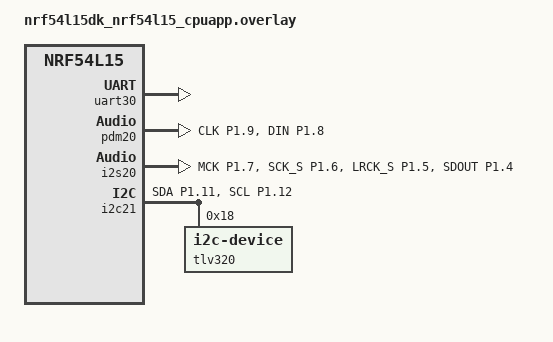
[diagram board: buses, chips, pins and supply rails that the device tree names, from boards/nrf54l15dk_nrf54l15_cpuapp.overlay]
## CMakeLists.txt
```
# SPDX-License-Identifier: Apache-2.0

cmake_minimum_required(VERSION 3.20.0)
find_package(Zephyr REQUIRED HINTS $ENV{ZEPHYR_BASE})
project(bap_unicast_server)

target_sources(app PRIVATE
  src/main.c
  src/ml_main.cc
  src/mfcc_data.c
  src/kws_model_data.cc
  src/cpu_based_blocks.cc
)

zephyr_library_include_directories(${ZEPHYR_BASE}/samples/bluetooth)
```

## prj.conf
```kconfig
CONFIG_BT=y
CONFIG_LOG=y
CONFIG_BT_SMP=y
CONFIG_BT_PERIPHERAL=y
CONFIG_BT_GAP_AUTO_UPDATE_CONN_PARAMS=n
# Set preferred values based on BT_BAP_CONN_PARAM_RELAXED
CONFIG_BT_PERIPHERAL_PREF_MIN_INT=50
CONFIG_BT_PERIPHERAL_PREF_MAX_INT=70
CONFIG_BT_PERIPHERAL_PREF_LATENCY=0
CONFIG_BT_PERIPHERAL_PREF_TIMEOUT=400
CONFIG_BT_ISO_PERIPHERAL=y
CONFIG_BT_AUDIO=y
CONFIG_BT_GATT_DYNAMIC_DB=y
CONFIG_BT_BAP_UNICAST_SERVER=y
CONFIG_BT_ASCS=y
CONFIG_BT_PAC_SNK=y
CONFIG_BT_ASCS_MAX_ASE_SNK_COUNT=1
CONFIG_BT_PAC_SRC=y
CONFIG_BT_ASCS_MAX_ASE_SRC_COUNT=1
CONFIG_BT_ISO_TX_BUF_COUNT=2
# Support an ISO channel per ASE
CONFIG_BT_ISO_MAX_CHAN=4

CONFIG_BT_AUDIO_CODEC_CFG_MAX_METADATA_SIZE=10

# Mandatory to support at least 1 for ASCS
CONFIG_BT_ATT_PREPARE_COUNT=2

CONFIG_BT_EXT_ADV=y
CONFIG_BT_DEVICE_NAME="Unicast Audio Server"

CONFIG_LOG=y

# I2S and DPPI support
CONFIG_NRFX_I2S20=y
CONFIG_CLOCK_CONTROL=y
CONFIG_I2C=y
CONFIG_RING_BUFFER=y
CONFIG_NRFX_DPPI20=y
CONFIG_NRFX_TIMER20=y
CONFIG_MAIN_STACK_SIZE=8192
CONFIG_SYSTEM_WORKQUEUE_STACK_SIZE=18240
CONFIG_THREAD_NAME=y
CONFIG_PCM_MIX=y
CONFIG_BT_RX_STACK_SIZE=10240
CONFIG_BT_LOG_SNIFFER_INFO=y
CONFIG_MPSL_WORK_STACK_SIZE=10240
CONFIG_BT_SETTINGS=y
CONFIG_FLASH=y
CONFIG_FLASH_MAP=y
CONFIG_NVS=y
CONFIG_SETTINGS=y


CONFIG_BT_GATT_AUTO_DISCOVER_CCC=y
CONFIG_BT_GATT_AUTO_RESUBSCRIBE=n
CONFIG_BT_GATT_AUTO_SEC_REQ=n
CONFIG_GPIO=y
CONFIG_BT_ATT_TX_COUNT=20
CONFIG_BT_L2CAP_TX_BUF_COUNT=12
CONFIG_BT_BUF_ACL_TX_COUNT=12
CONFIG_NRFX_UARTE30=y
CONFIG_DK_LIBRARY=y


# VCP support
CONFIG_BT_VCP_VOL_REND=y

# MCP support
CONFIG_BT_MCC=y
CONFIG_BT_GATT_CLIENT=y
CONFIG_BT_GATT_AUTO_DISCOVER_CCC=y

CONFIG_BT_CTLR_TX_PWR_ANTENNA=8


CONFIG_AUDIO_DMIC=y
CONFIG_AUDIO=y
```

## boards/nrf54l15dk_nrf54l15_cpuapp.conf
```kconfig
# For LC3 the following configs are needed
CONFIG_FPU=y
CONFIG_LIBLC3=y

CONFIG_BT_BUF_EVT_RX_SIZE=255
CONFIG_BT_BUF_ACL_RX_SIZE=255
CONFIG_BT_BUF_ACL_TX_SIZE=251
CONFIG_BT_BUF_CMD_TX_SIZE=255

CONFIG_RING_BUFFER=y
CONFIG_CPP=y
CONFIG_STD_CPP17=y
CONFIG_NEWLIB_LIBC=y
CONFIG_REQUIRES_FULL_LIBCPP=y
CONFIG_CBPRINTF_FP_SUPPORT=y
CONFIG_FPU=y
CONFIG_LOG=y
CONFIG_LOG_MODE_IMMEDIATE=y
CONFIG_PRINTK=y
CONFIG_PRINTK_SYNC=y
CONFIG_CMSIS_NN=y
CONFIG_CMSIS_NN_ACTIVATION=y
CONFIG_CMSIS_NN_BASICMATH=y
CONFIG_CMSIS_NN_CONCATENATION=y
CONFIG_CMSIS_NN_CONVOLUTION=y
CONFIG_CMSIS_NN_FULLYCONNECTED=y
CONFIG_CMSIS_NN_NNSUPPORT=y
CONFIG_CMSIS_NN_POOLING=y
CONFIG_CMSIS_NN_RESHAPE=y
CONFIG_CMSIS_NN_SOFTMAX=y
CONFIG_CMSIS_NN_SVD=y
CONFIG_CMSIS_NN_LSTM=y

#enable CMSIS MFCC
CONFIG_FPU=y
CONFIG_CMSIS_DSP=y
CONFIG_CMSIS_DSP_BASICMATH=y
CONFIG_CMSIS_DSP_COMPLEXMATH=y
CONFIG_CMSIS_DSP_FASTMATH=y
CONFIG_CMSIS_DSP_FILTERING=y
CONFIG_CMSIS_DSP_MATRIX=y
CONFIG_CMSIS_DSP_STATISTICS=y
CONFIG_CMSIS_DSP_TRANSFORM=y
CONFIG_CMSIS_DSP_DISTANCE=y
CONFIG_CMSIS_DSP_WINDOW=y

CONFIG_CMSIS_DSP_LOOPUNROLL=y

CONFIG_REQUIRES_FLOAT_PRINTF=y

CONFIG_TENSORFLOW_LITE_MICRO=y
CONFIG_TENSORFLOW_LITE_MICRO_CMSIS_NN_KERNELS=y
```

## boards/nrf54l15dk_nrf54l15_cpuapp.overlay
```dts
/ {
	aliases {
		i2s-node0 = &i2s20;
		i2c-slave = &i2c22;
    };
};


/ {
	chosen {
		zephyr,shell-uart = &uart30;
		zephyr,console = &uart30;
	};
};

&cpuapp_sram {
	reg = <0x20000000 DT_SIZE_K(250)>;
	ranges = <0x0 0x20000000 DT_SIZE_K(250)>;
};

/{
	soc {
		/delete-node/ cpuflpr_sram;
	};

};

&uart30 {
	status = "okay";
};

&uart20 {
	status = "disabled";
};

&pinctrl {
	pdm20_default_alt: pdm20_default_alt {
		group1 {
			psels = <NRF_PSEL(PDM_CLK, 1, 9)>,
				<NRF_PSEL(PDM_DIN, 1, 8)>;
		};
	};

	i2s20_default: i2s20_default {
		group1 {
			psels = <NRF_PSEL(I2S_MCK, 1, 7)>,
					<NRF_PSEL(I2S_SCK_S, 1, 6)>,
					<NRF_PSEL(I2S_LRCK_S, 1, 5)>,
					<NRF_PSEL(I2S_SDOUT, 1, 4)>;
		};
	};

	i2s20_sleep: i2s20_sleep {
		group1 {
			psels = <NRF_PSEL(I2S_MCK, 1, 7)>,
					<NRF_PSEL(I2S_SCK_S, 1, 6)>,
					<NRF_PSEL(I2S_LRCK_S, 1, 5)>,
					<NRF_PSEL(I2S_SDOUT, 1, 4)>;
			low-power-enable;
		};
	};
	i2c21_default_alt: i2c21_default_alt {
		group1 {
			psels = <NRF_PSEL(TWIM_SDA, 1, 11)>,
				<NRF_PSEL(TWIM_SCL, 1, 12)>;
		};
	};

	i2c21_sleep_alt: i2c21_sleep_alt {
		group1 {
			psels = <NRF_PSEL(TWIM_SDA, 1, 11)>,
				<NRF_PSEL(TWIM_SCL, 1, 12)>;
			low-power-enable;
		};
	};

};

dmic_dev: &pdm20 {
	status = "okay";
	pinctrl-0 = <&pdm20_default_alt>;
	pinctrl-names = "default";
	clock-source = "PCLK32M";
};

&i2s20 {
	status = "okay";
	pinctrl-0 = <&i2s20_default>;
	pinctrl-1 = <&i2s20_sleep>;
	pinctrl-names = "default", "sleep";
};

&i2c21 {
	compatible = "nordic,nrf-twim";
	status = "okay";
	pinctrl-0 = <&i2c21_default_alt>;
	pinctrl-1 = <&i2c21_sleep_alt>;
	pinctrl-names = "default", "sleep";
	tlv320: tlv320@18 {
        compatible = "i2c-device";
        status = "okay";
		reg = <0x18>;
	};
};
```

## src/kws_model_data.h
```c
#include <cstdint>

constexpr unsigned int kws_model_data_size = 47816;
extern const unsigned char kws_model_data[];
```

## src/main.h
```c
#ifndef MAIN_H
#define MAIN_H
#ifdef __cplusplus
extern "C" {
#endif
int mcp_send_cmd(uint8_t mcp_opcode);
#ifdef __cplusplus
}
#endif
#endif
```

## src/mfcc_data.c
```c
#include "mfcc_data.h"


const float32_t mfcc_dct_coefs_config1_f32[NB_MFCC_DCT_COEFS_CONFIG1_F32]={
0.223607f,0.223607f,0.223607f,0.223607f,0.223607f,0.223607f,0.223607f,0.223607f,0.223607f,0.223607f,
0.223607f,0.223607f,0.223607f,0.223607f,0.223607f,0.223607f,0.223607f,0.223607f,0.223607f,0.223607f,
0.223607f,0.223607f,0.223607f,0.223607f,0.223607f,0.223607f,0.223607f,0.223607f,0.223607f,0.223607f,
0.223607f,0.223607f,0.223607f,0.223607f,0.223607f,0.223607f,0.223607f,0.223607f,0.223607f,0.223607f,
0.223434f,0.222057f,0.219310f,0.215212f,0.209786f,0.203067f,0.195096f,0.185922f,0.175602f,0.164200f,
0.151784f,0.138434f,0.124229f,0.109259f,0.093615f,0.077394f,0.060696f,0.043624f,0.026282f,0.008779f,
-0.008779f,-0.026282f,-0.043624f,-0.060696f,-0.077394f,-0.093615f,-0.109259f,-0.124229f,-0.138434f,-0.151784f,
-0.164200f,-0.175602f,-0.185922f,-0.195096f,-0.203067f,-0.209786f,-0.215212f,-0.219310f,-0.222057f,-0.223434f,
0.222917f,0.217429f,0.206586f,0.190656f,0.170032f,0.145221f,0.116834f,0.085571f,0.052200f,0.017544f,
-0.017544f,-0.052200f,-0.085571f,-0.116834f,-0.145221f,-0.170032f,-0.190656f,-0.206586f,-0.217429f,-0.222917f,
-0.222917f,-0.217429f,-0.206586f,-0.190656f,-0.170032f,-0.145221f,-0.116834f,-0.085571f,-0.052200f,-0.017544f,
0.017544f,0.052200f,0.085571f,0.116834f,0.145221f,0.170032f,0.190656f,0.206586f,0.217429f,0.222917f,
0.222057f,0.209786f,0.185922f,0.151784f,0.109259f,0.060696f,0.008779f,-0.043624f,-0.093615f,-0.138434f,
-0.175602f,-0.203067f,-0.219310f,-0.223434f,-0.215212f,-0.195096f,-0.164200f,-0.124229f,-0.077394f,-0.026282f,
0.026282f,0.077394f,0.124229f,0.164200f,0.195096f,0.215212f,0.223434f,0.219310f,0.203067f,0.175602f,
0.138434f,0.093615f,0.043624f,-0.008779f,-0.060696f,-0.109259f,-0.151784f,-0.185922f,-0.209786f,-0.222057f,
0.220854f,0.199235f,0.158114f,0.101515f,0.034980f,-0.034980f,-0.101515f,-0.158114f,-0.199235f,-0.220854f,
-0.220854f,-0.199235f,-0.158114f,-0.101515f,-0.034980f,0.034980f,0.101515f,0.158114f,0.199235f,0.220854f,
0.220854f,0.199235f,0.158114f,0.101515f,0.034980f,-0.034980f,-0.101515f,-0.158114f,-0.199235f,-0.220854f,
-0.220854f,-0.199235f,-0.158114f,-0.101515f,-0.034980f,0.034980f,0.101515f,0.158114f,0.199235f,0.220854f,
0.219310f,0.185922f,0.124229f,0.043624f,-0.043624f,-0.124229f,-0.185922f,-0.219310f,-0.219310f,-0.185922f,
-0.124229f,-0.043624f,0.043624f,0.124229f,0.185922f,0.219310f,0.219310f,0.185922f,0.124229f,0.043624f,
-0.043624f,-0.124229f,-0.185922f,-0.219310f,-0.219310f,-0.185922f,-0.124229f,-0.043624f,0.043624f,0.124229f,
0.185922f,0.219310f,0.219310f,0.185922f,0.124229f,0.043624f,-0.043624f,-0.124229f,-0.185922f,-0.219310f,
0.217429f,0.170032f,0.085571f,-0.017544f,-0.116834f,-0.190656f,-0.222917f,-0.206586f,-0.145221f,-0.052200f,
0.052200f,0.145221f,0.206586f,0.222917f,0.190656f,0.116834f,0.017544f,-0.085571f,-0.170032f,-0.217429f,
-0.217429f,-0.170032f,-0.085571f,0.017544f,0.116834f,0.190656f,0.222917f,0.206586f,0.145221f,0.052200f,
-0.052200f,-0.145221f,-0.206586f,-0.222917f,-0.190656f,-0.116834f,-0.017544f,0.085571f,0.170032f,0.217429f,
0.215212f,0.151784f,0.043624f,-0.077394f,-0.175602f,-0.222057f,-0.203067f,-0.124229f,-0.008779f,0.109259f,
0.195096f,0.223434f,0.185922f,0.093615f,-0.026282f,-0.138434f,-0.209786f,-0.219310f,-0.164200f,-0.060696f,
0.060696f,0.164200f,0.219310f,0.209786f,0.138434f,0.026282f,-0.093615f,-0.185922f,-0.223434f,-0.195096f,
-0.109259f,0.008779f,0.124229f,0.203067f,0.222057f,0.175602f,0.077394f,-0.043624f,-0.151784f,-0.215212f,
0.212663f,0.131433f,0.000000f,-0.131433f,-0.212663f,-0.212663f,-0.131433f,-0.000000f,0.131433f,0.212663f,
0.212663f,0.131433f,0.000000f,-0.131433f,-0.212663f,-0.212663f,-0.131433f,-0.000000f,0.131433f,0.212663f,
0.212663f,0.131433f,0.000000f,-0.131433f,-0.212663f,-0.212663f,-0.131433f,-0.000000f,0.131433f,0.212663f,
0.212663f,0.131433f,-0.000000f,-0.131433f,-0.212663f,-0.212663f,-0.131433f,-0.000000f,0.131433f,0.212663f,
0.209786f,0.109259f,-0.043624f,-0.175602f,-0.223434f,-0.164200f,-0.026282f,0.124229f,0.215212f,0.203067f,
0.093615f,-0.060696f,-0.185922f,-0.222057f,-0.151784f,-0.008779f,0.138434f,0.219310f,0.195096f,0.077394f,
-0.077394f,-0.195096f,-0.219310f,-0.138434f,0.008779f,0.151784f,0.222057f,0.185922f,0.060696f,-0.093615f,
-0.203067f,-0.215212f,-0.124229f,0.026282f,0.164200f,0.223434f,0.175602f,0.043624f,-0.109259f,-0.209786f,
};




const float32_t mfcc_window_coefs_config1_f32[NB_MFCC_WIN_COEFS_CONFIG1_F32]={
    0.        , 0.00004284, 0.00017134, 0.00038548, 0.00068523,
    0.00107054, 0.00154133, 0.00209754, 0.00273905, 0.00346577,
    0.00427757, 0.00517431, 0.00615583, 0.00722197, 0.00837255,
    0.00960736, 0.0109262 , 0.01232884, 0.01381504, 0.01538455,
    0.01703709, 0.01877238, 0.02059013, 0.02249003, 0.02447174,
    0.02653494, 0.02867925, 0.03090433, 0.03320979, 0.03559522,
    0.03806023, 0.04060439, 0.04322727, 0.04592841, 0.04870736,
    0.05156363, 0.05449674, 0.05750618, 0.06059144, 0.063752  ,
    0.0669873 , 0.07029679, 0.07367992, 0.07713609, 0.08066472,
    0.08426519, 0.08793691, 0.09167922, 0.0954915 , 0.09937309,
    0.10332333, 0.10734153, 0.11142702, 0.11557908, 0.11979702,
    0.1240801 , 0.12842759, 0.13283875, 0.13731281, 0.14184903,
    0.14644661, 0.15110477, 0.15582271, 0.16059963, 0.1654347 ,
    0.17032709, 0.17527598, 0.1802805 , 0.1853398 , 0.19045303,
    0.19561929, 0.2008377 , 0.20610737, 0.2114274 , 0.21679688,
    0.22221488, 0.22768048, 0.23319274, 0.23875072, 0.24435346,
    0.25      , 0.25568938, 0.26142062, 0.26719274, 0.27300475,
    0.27885565, 0.28474445, 0.29067013, 0.29663168, 0.30262807,
    0.30865828, 0.31472128, 0.32081603, 0.32694147, 0.33309657,
    0.33928027, 0.3454915 , 0.35172921, 0.35799233, 0.36427978,
    0.37059048, 0.37692335, 0.38327732, 0.38965128, 0.39604415,
    0.40245484, 0.40888224, 0.41532525, 0.42178277, 0.42825369,
    0.4347369 , 0.4412313 , 0.44773577, 0.45424919, 0.46077045,
    0.46729844, 0.47383202, 0.48037009, 0.48691153, 0.4934552 ,
    0.5       , 0.5065448 , 0.51308847, 0.51962991, 0.52616798,
    0.53270156, 0.53922955, 0.54575081, 0.55226423, 0.5587687 ,
    0.5652631 , 0.57174631, 0.57821723, 0.58467475, 0.59111776,
    0.59754516, 0.60395585, 0.61034872, 0.61672268, 0.62307665,
    0.62940952, 0.63572022, 0.64200767, 0.64827079, 0.6545085 ,
    0.66071973, 0.66690343, 0.67305853, 0.67918397, 0.68527872,
    0.69134172, 0.69737193, 0.70336832, 0.70932987, 0.71525555,
    0.72114435, 0.72699525, 0.73280726, 0.73857938, 0.74431062,
    0.75      , 0.75564654, 0.76124928, 0.76680726, 0.77231952,
    0.77778512, 0.78320312, 0.7885726 , 0.79389263, 0.7991623 ,
    0.80438071, 0.80954697, 0.8146602 , 0.8197195 , 0.82472402,
    0.82967291, 0.8345653 , 0.83940037, 0.84417729, 0.84889523,
    0.85355339, 0.85815097, 0.86268719, 0.86716125, 0.87157241,
    0.8759199 , 0.88020298, 0.88442092, 0.88857298, 0.89265847,
    0.89667667, 0.90062691, 0.9045085 , 0.90832078, 0.91206309,
    0.91573481, 0.91933528, 0.92286391, 0.92632008, 0.92970321,
    0.9330127 , 0.936248  , 0.93940856, 0.94249382, 0.94550326,
    0.94843637, 0.95129264, 0.95407159, 0.95677273, 0.95939561,
    0.96193977, 0.96440478, 0.96679021, 0.96909567, 0.97132075,
    0.97346506, 0.97552826, 0.97750997, 0.97940987, 0.98122762,
    0.98296291, 0.98461545, 0.98618496, 0.98767116, 0.9890738 ,
    0.99039264, 0.99162745, 0.99277803, 0.99384417, 0.99482569,
    0.99572243, 0.99653423, 0.99726095, 0.99790246, 0.99845867,
    0.99892946, 0.99931477, 0.99961452, 0.99982866, 0.99995716,
    1.        , 0.99995716, 0.99982866, 0.99961452, 0.99931477,
    0.99892946, 0.99845867, 0.99790246, 0.99726095, 0.99653423,
    0.99572243, 0.99482569, 0.99384417, 0.99277803, 0.99162745,
    0.99039264, 0.9890738 , 0.98767116, 0.98618496, 0.98461545,
    0.98296291, 0.98122762, 0.97940987, 0.97750997, 0.97552826,
    0.97346506, 0.97132075, 0.96909567, 0.96679021, 0.96440478,
    0.96193977, 0.95939561, 0.95677273, 0.95407159, 0.95129264,
    0.94843637, 0.94550326, 0.94249382, 0.93940856, 0.936248  ,
    0.9330127 , 0.92970321, 0.92632008, 0.92286391, 0.91933528,
    0.91573481, 0.91206309, 0.90832078, 0.9045085 , 0.90062691,
    0.89667667, 0.89265847, 0.88857298, 0.88442092, 0.88020298,
    0.8759199 , 0.87157241, 0.86716125, 0.86268719, 0.85815097,
    0.85355339, 0.84889523, 0.84417729, 0.83940037, 0.8345653 ,
    0.82967291, 0.82472402, 0.8197195 , 0.8146602 , 0.80954697,
    0.80438071, 0.7991623 , 0.79389263, 0.7885726 , 0.78320312,
    0.77778512, 0.77231952, 0.76680726, 0.76124928, 0.75564654,
    0.75      , 0.74431062, 0.73857938, 0.73280726, 0.72699525,
    0.72114435, 0.71525555, 0.70932987, 0.70336832, 0.69737193,
    0.69134172, 0.68527872, 0.67918397, 0.67305853, 0.66690343,
    0.66071973, 0.6545085 , 0.64827079, 0.64200767, 0.63572022,
    0.62940952, 0.62307665, 0.61672268, 0.61034872, 0.60395585,
    0.59754516, 0.59111776, 0.58467475, 0.57821723, 0.57174631,
    0.5652631 , 0.5587687 , 0.55226423, 0.54575081, 0.53922955,
    0.53270156, 0.52616798, 0.51962991, 0.51308847, 0.5065448 ,
    0.5       , 0.4934552 , 0.48691153, 0.48037009, 0.47383202,
    0.46729844, 0.46077045, 0.45424919, 0.44773577, 0.4412313 ,
    0.4347369 , 0.42825369, 0.42178277, 0.41532525, 0.40888224,
    0.40245484, 0.39604415, 0.38965128, 0.38327732, 0.37692335,
    0.37059048, 0.36427978, 0.35799233, 0.35172921, 0.3454915 ,
    0.33928027, 0.33309657, 0.32694147, 0.32081603, 0.31472128,
    0.30865828, 0.30262807, 0.29663168, 0.29067013, 0.28474445,
    0.27885565, 0.27300475, 0.26719274, 0.26142062, 0.25568938,
    0.25      , 0.24435346, 0.23875072, 0.23319274, 0.22768048,
    0.22221488, 0.21679688, 0.2114274 , 0.20610737, 0.2008377 ,
    0.19561929, 0.19045303, 0.1853398 , 0.1802805 , 0.17527598,
    0.17032709, 0.1654347 , 0.16059963, 0.15582271, 0.15110477,
    0.14644661, 0.14184903, 0.13731281, 0.13283875, 0.12842759,
    0.1240801 , 0.11979702, 0.11557908, 0.11142702, 0.10734153,
    0.10332333, 0.09937309, 0.0954915 , 0.09167922, 0.08793691,
    0.08426519, 0.08066472, 0.07713609, 0.07367992, 0.07029679,
    0.0669873 , 0.063752  , 0.06059144, 0.05750618, 0.05449674,
    0.05156363, 0.04870736, 0.04592841, 0.04322727, 0.04060439,
    0.03806023, 0.03559522, 0.03320979, 0.03090433, 0.02867925,
    0.02653494, 0.02447174, 0.02249003, 0.02059013, 0.01877238,
    0.01703709, 0.01538455, 0.01381504, 0.01232884, 0.0109262 ,
    0.00960736, 0.00837255, 0.00722197, 0.00615583, 0.00517431,
    0.00427757, 0.00346577, 0.00273905, 0.00209754, 0.00154133,
    0.00107054, 0.00068523, 0.00038548, 0.00017134, 0.00004284,
    0.        , 0.        , 0.        , 0.        , 0.        ,
    0.        , 0.        , 0.        , 0.        , 0.        ,
    0.        , 0.        , 0.        , 0.        , 0.        ,
    0.        , 0.        , 0.        , 0.        , 0.        ,
    0.        , 0.        , 0.        , 0.        , 0.        ,
    0.        , 0.        , 0.        , 0.        , 0.        ,
    0.        , 0.        , };



const uint32_t mfcc_filter_pos_config1_f32[NB_MFCC_NB_FILTER_CONFIG1_F32]={
1,2,3,5,6,7,8,10,11,13,
15,16,18,20,22,24,26,28,31,33,
36,38,41,44,47,50,54,57,61,65,
69,73,78,82,87,92,98,103,109,115,
};
const uint32_t mfcc_filter_len_config1_f32[NB_MFCC_NB_FILTER_CONFIG1_F32]={
2,3,3,2,2,3,3,3,4,3,
3,4,4,4,4,4,5,5,5,5,
5,6,6,6,7,7,7,8,8,8,
9,9,9,10,11,11,11,12,13,13,
};




const float32_t mfcc_filter_coefs_config1_f32[NB_MFCC_FILTER_COEFS_CONFIG1_F32]={
0.338832f,0.746631f,0.253369f,0.868833f,0.024935f,0.131167f,0.975065f,0.212417f,0.787583f,0.429027f,
0.570973f,0.672750f,0.327250f,0.941771f,0.234452f,0.058229f,0.765548f,0.549310f,0.450690f,0.884997f,
0.240282f,0.115003f,0.759718f,0.614043f,0.005251f,0.385957f,0.994749f,0.412959f,0.587041f,0.836297f,
0.274460f,0.163703f,0.725540f,0.726706f,0.192346f,0.273294f,0.807654f,0.670741f,0.161295f,0.329259f,
0.838705f,0.663455f,0.176704f,0.336545f,0.823296f,0.700558f,0.234565f,0.299442f,0.765435f,0.778301f,
0.331369f,0.221699f,0.668631f,0.893393f,0.464023f,0.042927f,0.106607f,0.535977f,0.957073f,0.629791f,
0.224320f,0.370209f,0.775680f,0.826236f,0.435273f,0.051182f,0.173764f,0.564727f,0.948818f,0.673724f,
0.302676f,0.326276f,0.697324f,0.937822f,0.578960f,0.225895f,0.062178f,0.421040f,0.774105f,0.878443f,
0.536430f,0.199686f,0.121557f,0.463570f,0.800314f,0.868052f,0.541376f,0.219511f,0.131948f,0.458624f,
0.780489f,0.902318f,0.589662f,0.281417f,0.097682f,0.410338f,0.718583f,0.977459f,0.677670f,0.381939f,
0.090156f,0.022541f,0.322330f,0.618061f,0.909844f,0.802217f,0.518023f,0.237477f,0.197783f,0.481977f,
0.762523f,0.960486f,0.686963f,0.416821f,0.149977f,0.039514f,0.313037f,0.583179f,0.850023f,0.886352f,
0.625869f,0.368455f,0.114037f,0.113648f,0.374131f,0.631545f,0.885963f,0.862547f,0.613918f,0.368086f,
0.124989f,0.137453f,0.386082f,0.631914f,0.875011f,0.884566f,0.646759f,0.411512f,0.178770f,0.115434f,
0.353241f,0.588488f,0.821230f,0.948481f,0.720594f,0.495058f,0.271825f,0.050851f,0.051519f,0.279406f,
0.504942f,0.728175f,0.949149f,0.832088f,0.615493f,0.401024f,0.188639f,0.167912f,0.384507f,0.598976f,
0.811361f,0.978298f,0.769962f,0.563594f,0.359156f,0.156613f,0.021702f,0.230038f,0.436406f,0.640844f,
0.843387f,0.955930f,0.757073f,0.560009f,0.364707f,0.171134f,0.044070f,0.242927f,0.439991f,0.635293f,
0.828866f,0.979260f,0.789057f,0.600495f,0.413545f,0.228182f,0.044377f,0.020740f,0.210943f,0.399505f,
0.586455f,0.771818f,0.955623f,0.862106f,0.681342f,0.502061f,0.324238f,0.147851f,0.137894f,0.318658f,
0.497939f,0.675762f,0.852149f,0.972877f,0.799292f,0.627075f,0.456204f,0.286659f,0.118419f,0.027123f,
0.200708f,0.372925f,0.543796f,0.713341f,0.881581f,0.951465f,0.785776f,0.621334f,0.458120f,0.296116f,
0.135304f,0.048535f,0.214224f,0.378666f,0.541880f,0.703884f,0.864696f,0.975667f,0.817188f,0.659849f,
0.503635f,0.348530f,0.194518f,0.041583f,0.024333f,0.182812f,0.340151f,0.496365f,0.651470f,0.805482f,
0.958417f,0.889712f,0.738888f,0.589099f,0.440329f,0.292564f,0.145793f,};
```

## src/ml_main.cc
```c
#include <zephyr/kernel.h>
#include <stdio.h>
#include <string.h>
#include <stdarg.h>
#include <zephyr/sys/ring_buffer.h>
#include <math.h>
#include <dk_buttons_and_leds.h>
#include <zephyr/bluetooth/audio/vcp.h>
#include <zephyr/bluetooth/audio/mcc.h>
#include "main.h"
#include "ml_main.h"

#define SAMPLE_LENGTH_IN_MS 100
#define PDM_BYTE_DEPTH 2
#define PDM_SAMPLE_PER_SEC 16000

extern void cpu_blocks_init(void);
extern void mfcc_cpu(const int16_t* audio_sample, int8_t* mfcc_result);
extern void inference_cpu(const int8_t* mfcc_feature_map, int* class_index);



#define MFCC_STEP_IN_MS 20
#define MFCC_WINDOW_IN_MS 30

/*
 * Local buffer to copy data from PDM buffer. Extra space for data corrsponding one MFCC window
 * is added to hold residual part
 */

static int16_t mfcc_input[PDM_SAMPLE_PER_SEC*SAMPLE_LENGTH_IN_MS/MSEC_PER_SEC+PDM_SAMPLE_PER_SEC*MFCC_WINDOW_IN_MS/MSEC_PER_SEC];


#define MFCC_RING_BUF_BYTES 1000
RING_BUF_DECLARE(mfcc_int8_ring_buf, MFCC_RING_BUF_BYTES);

/* Semephore to sync mfcc calculation and kws inference. */
/* It's binary as we let the inference workflow to determine how many rounds of inference should happen */
K_SEM_DEFINE(mfcc_ready, 0 ,1);

#define MFCC_DATA_LENGTH 10
#define KWS_MFCC_WINDOW 49
#define KWS_MFCC_STEP 10
int8_t inference_input[KWS_MFCC_WINDOW*MFCC_DATA_LENGTH];

enum {
	KWS_LABEL_DOWN,
	KWS_LABEL_GO,
	KWS_LABEL_LEFT,
	KWS_LABEL_NO,
	KWS_LABEL_OFF,
	KWS_LABEL_ON,
	KWS_LABEL_RIGHT,
	KWS_LABEL_STOP,
	KWS_LABEL_UP,
	KWS_LABEL_YES,
	KWS_LABEL_SILENCE,
	KWS_LABEL_UNKNOWN,
	KWS_LABEL_COUNT
};

const char* label[] = {"Down", "Go", "Left", "No", "Off", "On", "Right", "Stop", "Up", "Yes", "Silence", "Unknown"};

#define INFERENCE_STACK_SIZE 4096
#define INFERENCE_PRIORITY 5

void inference_thread(void *, void *, void *) {
#define FILTER_WINDOW_LEN 4
	int last_n_results[FILTER_WINDOW_LEN];
	for (int i = 0; i < FILTER_WINDOW_LEN; i++) {
				last_n_results[i] = -1;
	}
	while (true) {

		k_sem_take(&mfcc_ready, K_FOREVER);
		while (ring_buf_size_get(&mfcc_int8_ring_buf) >= MFCC_DATA_LENGTH * KWS_MFCC_WINDOW) {
			int max_idx = 0;
			ring_buf_peek(&mfcc_int8_ring_buf, (uint8_t*)inference_input, MFCC_DATA_LENGTH * KWS_MFCC_WINDOW);


			inference_cpu(inference_input, &max_idx);



			// printk("[%u] Label: %s, likelihood %f\n",end, label[max_idx],
			// 	output_scale * (output->data.int8[max_idx] - output_zp));
			for (int i = 0; i < FILTER_WINDOW_LEN - 1; i++) {
				last_n_results[i] = last_n_results[i+1];
			}
			last_n_results[FILTER_WINDOW_LEN - 1] = max_idx;
			bool all_same = true;
			for (int i = 0; i < FILTER_WINDOW_LEN - 1; i++) {
				if (last_n_results[i] != last_n_results[i+1]) {
					all_same = false;
					break;
				}
			}
			if (all_same == true) {
				//printk("Label: %s in last %d inferences.\n", label[max_idx], FILTER_WINDOW_LEN);
				switch (max_idx) {
					case KWS_LABEL_UP:
						// Handle "Up" command
						bt_vcp_vol_rend_unmute_vol_up();
						printk("up\n");
						break;
					case KWS_LABEL_DOWN:
						// Handle "Down" command
						bt_vcp_vol_rend_unmute_vol_down();
						printk("down\n");
						break;
					case KWS_LABEL_LEFT:
						// Handle "Left" command
						printk("left\n");
						break;
					case KWS_LABEL_RIGHT:
						// Handle "Right" command
						printk("right\n");
						break;
					case KWS_LABEL_GO:
						// Handle "Go" command
						printk("Go\n");
						mcp_send_cmd(MEDIA_PROXY_OP_PLAY);
						break;
					case KWS_LABEL_NO:
						// Handle "No" command
						printk("No\n");
						break;
					case KWS_LABEL_OFF:
						// Handle "Off" command
						printk("Off\n");
						break;
					case KWS_LABEL_ON:
						// Handle "On" command
						printk("On\n");
						break;
					case KWS_LABEL_STOP:
						// Handle "Stop" command
						mcp_send_cmd(MEDIA_PROXY_OP_STOP);
						printk("Stop\n");
						break;
					case KWS_LABEL_YES:
						// Handle "Yes" command
						printk("Yes\n");
						break;
					case KWS_LABEL_SILENCE:
						// Handle "Silence" command
						printk("Silence\n");
						break;
					case KWS_LABEL_UNKNOWN:
						// Handle "Unknown" command
						break;
					default:
						// Do nothing
						break;
				}
					

				/*
				if (max_idx == 4) {
					//dk_set_led_off(DK_LED4);
				}
				if (max_idx == 5) {
					//dk_set_led_on(DK_LED4);
				}
				if (max_idx == 0) {
					//dk_set_led_on(DK_LED1);
				}
					*/
				for (int i = 0; i < FILTER_WINDOW_LEN; i++) {
					last_n_results[i] = -1;
				}
			}

			/* How many data we remove determines how frequency the inference is */
			/* Every step length of 1 equal to 20 ms */
			ring_buf_get(&mfcc_int8_ring_buf, NULL, KWS_MFCC_STEP*MFCC_DATA_LENGTH);

		}

	}

}

K_THREAD_STACK_DEFINE(inference_stack_area, INFERENCE_STACK_SIZE);
struct k_thread inference_thread_data;

uint32_t mfcc_input_tail;

int ml_init(void) {
	cpu_blocks_init();

	/*start inference thread*/
	k_tid_t my_tid = k_thread_create(&inference_thread_data, inference_stack_area,
                                 K_THREAD_STACK_SIZEOF(inference_stack_area),
                                 inference_thread,
                                 NULL, NULL, NULL,
                                 INFERENCE_PRIORITY, 0, K_NO_WAIT);
	printk("inference thread id %d\n", (int)my_tid);

	mfcc_input_tail = 0;
	return 0;
}
int ml_process(void* buffer, size_t size) {


	int sample_len;

	sample_len = size / 2;

	for (int i = 0; i < sample_len; i++) {
		mfcc_input[mfcc_input_tail] = ((int16_t*)buffer)[i];
		mfcc_input_tail++;
	}

	uint32_t start, end;
	// Calculate MFCC feature map
	start = k_uptime_get_32();

	int number_of_windows = (mfcc_input_tail - (PDM_SAMPLE_PER_SEC*MFCC_WINDOW_IN_MS/MSEC_PER_SEC)
		+ (PDM_SAMPLE_PER_SEC*MFCC_STEP_IN_MS/MSEC_PER_SEC)) / (PDM_SAMPLE_PER_SEC*MFCC_STEP_IN_MS/MSEC_PER_SEC);
		for (int i = 0; i < number_of_windows; i++) {

		int8_t mfcc_slice_int8[MFCC_DATA_LENGTH];

		mfcc_cpu(&(mfcc_input[PDM_SAMPLE_PER_SEC*MFCC_STEP_IN_MS/MSEC_PER_SEC*i]), mfcc_slice_int8);



		uint32_t ret;

		ret = ring_buf_put(&mfcc_int8_ring_buf, (const uint8_t*)mfcc_slice_int8, sizeof(mfcc_slice_int8));
		if (ret != sizeof(mfcc_slice_int8)) {
			printk("Ring buffer full!, queued %d, expected 10\n", ret);
			/* The return value is not checked because there should be enough data to discard */
			// ring_buf_get(&mfcc_int8_ring_buf, NULL, 10 - ret);
			// ring_buf_put(&mfcc_int8_ring_buf, (const uint8_t*)&(mfcc_slice_int8[ret]), 10 - ret);
		}
	}
	end = k_uptime_get_32();
	// printk("Time used for %d mfcc calculation: %d ms.\n", number_of_windows, end - start);
	for (uint32_t i = 0; i < mfcc_input_tail - PDM_SAMPLE_PER_SEC*MFCC_STEP_IN_MS/MSEC_PER_SEC * number_of_windows; i++) {
		mfcc_input[i] = mfcc_input[PDM_SAMPLE_PER_SEC*MFCC_STEP_IN_MS/MSEC_PER_SEC * number_of_windows + i];
	}
	mfcc_input_tail = mfcc_input_tail - PDM_SAMPLE_PER_SEC*MFCC_STEP_IN_MS/MSEC_PER_SEC * number_of_windows;

	/* Trigger inference here */
	if (ring_buf_size_get(&mfcc_int8_ring_buf) >= MFCC_DATA_LENGTH * KWS_MFCC_WINDOW) {
		k_sem_give(&mfcc_ready);
	}
	return 0;
}
```

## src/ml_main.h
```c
#ifndef ML_MAIN_H_
#define ML_MAIN_H_
#ifdef __cplusplus
#define EXTERNC extern "C"
#else
#define EXTERNC
#endif

EXTERNC int ml_init(void);
EXTERNC int ml_process(void* buffer, size_t size);

#undef EXTERNC
#endif /* ML_MAIN_H_ */
```
